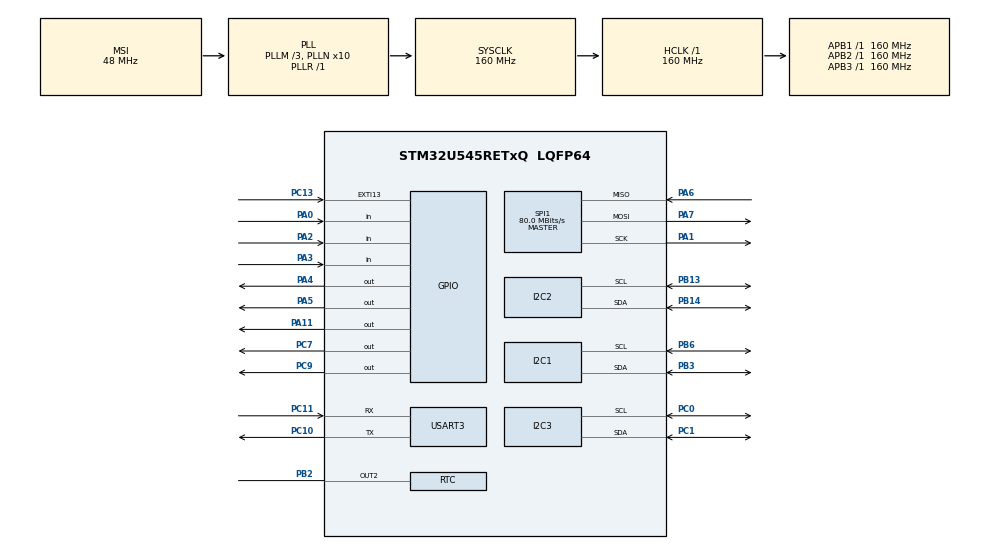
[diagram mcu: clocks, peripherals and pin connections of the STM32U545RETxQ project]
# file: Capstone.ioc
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CORTEX_M33_NS.userName=CORTEX_M33
I2C1.Timing=0x30909DEC
I2C2.Timing=0x30909DEC
I2C3.Timing=0x30909DEC
Mcu.Family=STM32U5
Mcu.Name=STM32U545RETxQ
Mcu.Package=LQFP64
NUCLEO-U545RE-Q.BUTTON=1
NUCLEO-U545RE-Q.Bsp_Common_DEMO=true
NUCLEO-U545RE-Q.LD2=true
NUCLEO-U545RE-Q.VCP=true
NVIC.EXTI13_IRQn=true\:0\:0\:false\:false\:true\:false\:true\:true
NVIC.PriorityGroup=NVIC_PRIORITYGROUP_4
PA0.Signal=GPIO_Input
PA1.Mode=Full_Duplex_Master
PA1.Signal=SPI1_SCK
PA11.Signal=GPIO_Output
PA13\ (JTMS/SWDIO).Mode=Serial_Wire
PA13\ (JTMS/SWDIO).Signal=DEBUG_JTMS-SWDIO
PA14\ (JTCK/SWCLK).Mode=Serial_Wire
PA14\ (JTCK/SWCLK).Signal=DEBUG_JTCK-SWCLK
PA2.Signal=GPIO_Input
PA3.Signal=GPIO_Input
PA4.Signal=GPIO_Output
PA5.Signal=GPIO_Output
PA6.Mode=Full_Duplex_Master
PA6.Signal=SPI1_MISO
PA7.Mode=Full_Duplex_Master
PA7.Signal=SPI1_MOSI
PB13.Mode=I2C
PB13.Signal=I2C2_SCL
PB14.Mode=I2C
PB14.Signal=I2C2_SDA
PB2.Mode=Calibration_1Hz
PB2.Signal=RTC_OUT2
PB3\ (JTDO/TRACESWO).Mode=I2C
PB3\ (JTDO/TRACESWO).Signal=I2C1_SDA
PB6.Mode=I2C
PB6.Signal=I2C1_SCL
PC0.Mode=I2C
PC0.Signal=I2C3_SCL
PC1.Mode=I2C
PC1.Signal=I2C3_SDA
PC10.Mode=Asynchronous
PC10.Signal=USART3_TX
PC11.Mode=Asynchronous
PC11.Signal=USART3_RX
PC13.Signal=GPXTI13
PC7.Signal=GPIO_Output
PC9.Signal=GPIO_Output
PH0-OSC_IN\ (PH0).Mode=HSE-External-Oscillator
PH0-OSC_IN\ (PH0).Signal=RCC_OSC_IN
PH1-OSC_OUT\ (PH1).Mode=HSE-External-Oscillator
PH1-OSC_OUT\ (PH1).Signal=RCC_OSC_OUT
PWR.PowerMode=PWR_SMPS_SUPPLY
ProjectManager.HeapSize=0x200
ProjectManager.StackSize=0x400
ProjectManager.TargetToolchain=STM32CubeIDE
RCC.ADCFreq_Value=16000000
RCC.AHBFreq_Value=160000000
RCC.APB1Freq_Value=160000000
RCC.APB1TimFreq_Value=160000000
RCC.APB2Freq_Value=160000000
RCC.APB2TimFreq_Value=160000000
RCC.APB3Freq_Value=160000000
RCC.CortexFreq_Value=160000000
RCC.DACCLockSelectionVirtual=RCC_DAC1CLKSOURCE_LSI
RCC.DACCLockSelectionVirtualString=RCC_DAC1CLKSOURCE_LSI
RCC.EPOD_VALUE=48000000
RCC.HCLKFreq_Value=160000000
RCC.HSE_VALUE=8000000
RCC.HSI48_VALUE=48000000
RCC.HSI_VALUE=16000000
RCC.LSE_VALUE=32768
RCC.LSIDIV_VALUE=32000
RCC.MSIClockRange=RCC_MSIRANGE_0
RCC.MSI_VALUE=48000000
RCC.PLL1R=1
RCC.PLL2FRACN=0
RCC.PLL3FRACN=0
RCC.PLLFRACN=0
RCC.PLLM=3
RCC.PLLN=10
RCC.SYSCLKFreq_VALUE=160000000
RCC.SYSCLKSource=RCC_SYSCLKSOURCE_PLLCLK
RCC.USBFreq_Value=48000000
RCC.VCOOutputFreq_Value=160000000
SPI1.CalculateBaudRate=80.0 MBits/s
SPI1.Direction=SPI_DIRECTION_2LINES
SPI1.Mode=SPI_MODE_MASTER
SPI1.VirtualType=VM_MASTER
USART3.VirtualMode-Asynchronous=VM_ASYNC
VP_ICACHE_VS_ICACHE.Mode=DirectMappedCache
VP_LPBAMQUEUE_VS_QUEUE.Mode=QUEUEMODE
VP_LPBAM_VS_SIG1.Mode=SmartRun
VP_LPBAM_VS_SIG4.Mode=LPDMA1
VP_MEMORYMAP_VS_MEMORYMAP.Mode=CurAppReg
VP_NUCLEO-U545RE-Q_VS_BSP_COMMON.Mode=COMMON
VP_PWR_VS_LPOM.Mode=PowerOptimisation
VP_PWR_VS_SECSignals.Mode=Security/Privilege
VP_RTC_VS_RTC_Activate.Mode=RTC_Enabled
VP_RTC_VS_RTC_Calendar.Mode=RTC_Calendar
board=NUCLEO-U545RE-Q

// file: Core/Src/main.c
/* USER CODE BEGIN Header */
/**
  ******************************************************************************
  * @file           : main.c
  * @brief          : Main program body
  ******************************************************************************
  * @attention
  *
  * Copyright (c) 2024 STMicroelectronics.
  * All rights reserved.
  *
  * This software is licensed under terms that can be found in the LICENSE file
  * in the root directory of this software component.
  * If no LICENSE file comes with this software, it is provided AS-IS.
  *
  ******************************************************************************
  */
/* USER CODE END Header */
#include "main.h"
#include "sensor_query.h"
#include "print_data.h"
#include "power.h"
#include <stdbool.h>
#include "ssd1306.h"
#include "ssd1306_fonts.h"
/* USER CODE BEGIN Includes */
samples sample_array[720]; 	//Sample every 2 minutes, 30 samples/ hour for 24 hours is 720 samples a day
/* USER CODE END Includes */

COM_InitTypeDef BspCOMInit;
__IO uint32_t BspButtonState = BUTTON_RELEASED;

I2C_HandleTypeDef hi2c1;
I2C_HandleTypeDef hi2c2;
I2C_HandleTypeDef hi2c3;

RTC_HandleTypeDef hrtc;

SPI_HandleTypeDef hspi1;

UART_HandleTypeDef huart3;

void SystemClock_Config(void);
static void SystemPower_Config(void);
static void MX_GPIO_Init(void);
static void MX_ICACHE_Init(void);
static void MX_I2C1_Init(void);
static void MX_I2C3_Init(void);
static void MX_USART3_UART_Init(void);
static void MX_RTC_Init(void);
static void MX_I2C2_Init(void);
static void MX_SPI1_Init(void);
/* USER CODE BEGIN PFP */

//#define PUTCHAR_PROTOTYPE int __io_putchar(int ch)

/* USER CODE END PFP */

/* USER CODE BEGIN 0 */

volatile uint32_t count = 0;
/* USER CODE END 0 */

int main(void)
{

  /* USER CODE BEGIN 1 */

  /* MCU Configuration--------------------------------------------------------*/
  //printf("At the very start of the loop\n");
  /* Reset of all peripherals, Initializes the Flash interface and the Systick. */
  HAL_Init();

  /* USER CODE BEGIN Init */

  /* USER CODE END Init */

  /* Configure the system clock */
  SystemClock_Config();

  /* Configure the System Power */
  SystemPower_Config();

  /* USER CODE BEGIN SysInit */

  /* USER CODE END SysInit */

  /* Initialize all configured peripherals */
  MX_GPIO_Init();
  MX_ICACHE_Init();
  MX_I2C1_Init();
  MX_I2C3_Init();
  MX_USART3_UART_Init();
  MX_RTC_Init();
  MX_I2C2_Init();
  MX_SPI1_Init();
  /* USER CODE BEGIN 2 */
  	//ST7735_Init(0);
    //fillScreen(BLACK);
    //testAll();

    HAL_Delay(1000);
    //ST7735_FillRectangle(0, 0, 180, 128, 0xF800); // Fill screen with red
    __enable_irq();
  /* USER CODE END 2 */

  /* Initialize led */
  BSP_LED_Init(LED_GREEN);

  BSP_LED_Toggle(LED_GREEN);
  HAL_Delay(1000);
  /* Initialize USER push-button, will be used to trigger an interrupt each time it's pressed.*/
  BSP_PB_Init(BUTTON_USER, BUTTON_MODE_EXTI);

  /* Initialize COM1 port (115200, 8 bits (7-bit data + 1 stop bit), no parity */
  BspCOMInit.BaudRate   = 115200;
  BspCOMInit.WordLength = COM_WORDLENGTH_8B;
  BspCOMInit.StopBits   = COM_STOPBITS_1;
  BspCOMInit.Parity     = COM_PARITY_NONE;
  BspCOMInit.HwFlowCtl  = COM_HWCONTROL_NONE;
  if (BSP_COM_Init(COM1, &BspCOMInit) != BSP_ERROR_NONE)
  {
    Error_Handler();
  }

  printf("ABout to initialize the display\n");
   HAL_Delay(1000);
   ssd1306_Init();
  /* USER CODE BEGIN BSP */
	//HAL_GPIO_WritePin(GPIOA, GPIO_PIN_4, GPIO_PIN_RESET); //Demonstrate Low Power Mode
  //HAL_Delay(100);
/* USER CODE END 1 */
	//uint8_t msg[] = "Direct UART Test\r\n";
	//HAL_UART_Transmit(&huart3, msg, sizeof(msg)-1, HAL_MAX_DELAY);
  /* -- Sample board code to send message over COM1 port ---- */
  //printf("Welcome to STM32 world !\n\r");

  /* -- Sample board code to switch on led ---- */
  //BSP_LED_On(LED_GREEN);

  /* USER CODE END BSP */

  /* Infinite loop */
  /* USER CODE BEGIN WHILE */

  int entry_shown = 0;
  int new_entry, last_entry = 0;
  int num_of_entries = 0;
  int max_entries = 720; //can be changed, 720 = sample every 2 minutes for 1 day

  int button1 = HAL_GPIO_ReadPin(GPIOA, GPIO_PIN_2); //Extra button for whatever else
  int button2 = HAL_GPIO_ReadPin(GPIOA, GPIO_PIN_0); //Original Button that actually works
  int button3 = HAL_GPIO_ReadPin(GPIOA, GPIO_PIN_3); //New Button, Need to replace with nucleo button that was being used
  bool busy = false;
  uint32_t start_powerdown = 0;
  char str[] = "Jake Rules!";
  uint8_t x = 10;
  uint8_t y = 10;
  printf("ABout to enter while loop\n");
  while (1)
  {
	  printf("Inside while loop at the start\n");
	  // Print test text
	      /*ssd1306_SetCursor(0, 0);
	      ssd1306_WriteString("Hello, STM32!", Font_6x8, White);
	      ssd1306_UpdateScreen();

	      ssd1306_SetCursor(0, 8);
	      ssd1306_WriteString("Hello, STM32!", Font_6x8, White);
	      ssd1306_UpdateScreen();
	      ssd1306_SetCursor(0, 16);
	      ssd1306_WriteString("Hello, STM32!", Font_6x8, White);
	      ssd1306_UpdateScreen();
	      ssd1306_SetCursor(0, 24);
	      ssd1306_WriteString("Hello, STM32!", Font_6x8, White);
	      ssd1306_UpdateScreen();*/

	  //ssd1306_SetCursor(x, y);
	  //ssd1306_WriteString(str, Font_6x8, White);
	  //printf("%s\n", str);
	  //THERE IS SOME REDUNDANCY HERE NOT SURE WHAT TO KEEP/GET RID OF AT THE MOMENT, I THINK THE BUTTON INITIALIZATION ABOVE? BUT NOT SURE WHAT TO INITIALIZE THE BUTTONS TO ALSO SHOULD BE BOOLS?
	  //printf("Something\n");
	  button1 = HAL_GPIO_ReadPin(GPIOA, GPIO_PIN_2);
	  button2 = HAL_GPIO_ReadPin(GPIOA, GPIO_PIN_0);
	  button3 = HAL_GPIO_ReadPin(GPIOA, GPIO_PIN_3);
	 /* button2 = HAL_GPIO_ReadPin(GPIOA, GPIO_PIN_0);
	  HAL_Delay(100);
	  button3 = HAL_GPIO_ReadPin(GPIOA, GPIO_PIN_3);
	  HAL_Delay(50);
	  	  if (button2 == GPIO_PIN_SET) {  // If button 2 is pressed
	          printf("Button 2 Pressed\n");  // Print message to console
	          button2 = 0;
	      }

	  	  else if (button3 == GPIO_PIN_SET) {  // If button 3 is pressed
	          printf("Button 3 Pressed\n");  // Print message to console
	          button3 = 0;
	      }

	      // Optional: Test BspButtonState if you're using a custom button system (e.g., for button 1)
	  	  else if (BspButtonState == BUTTON_PRESSED) {
	    	  BspButtonState = BUTTON_RELEASED;
	          printf("Button 1 Pressed\n");  // Print message for Button 1
	      }*/
	    //NO USLEEP()
	  	  //printf("about to enter power_down\n");
	  	  //power_down();
	  	  if((count - start_powerdown >= 10000) && !busy){ //was 120,000
		     power_up();  // sensor_read wakes up controller from sleep w

			  //printf("\033\143"); // TEMP - putty clear
			  printf("Checking new data..."); //screen shows 'updating'

			  // update the new_entry and last_entry 'pointers' to the storage array
			  if(num_of_entries == 0){ // when there is no data, new_entry is set to the first value
				  new_entry = 0;
				  last_entry = 0;
			  }
			  else{ // in normal operating, new_entry is incremented to not overwrite the previous read
				  //OLD: new_entry += 1;
				  new_entry = (new_entry+1) % max_entries; // will wrap around if reaching the end of the array
				  if(new_entry == last_entry){ // if this read will overwrite the oldest value, increase the pointer to the next oldest value
				  		//last_entry += 1;
				  		last_entry = (last_entry+1) % max_entries; // will wrap around if reaching the end of the array
				  }
			  }
			  //printf("1\n");
			  /*if(new_entry == last_entry){ // if this read will overwrite the oldest value, increase the pointer to the next oldest value
				last_entry += 1;
				last_entry = last_entry % max_entries; // will wrap around if reaching the end of the array
			  }*/
			  //printf("2\n");
			  //read from sensors to index of new_entry
			  store_data(&sample_array[new_entry]);

			  //printf("3\n");
			  entry_shown = new_entry; // show the most up-to-date data on the display
			  if(num_of_entries < max_entries){ // increase the 'size' of the used array if not full yet
				  num_of_entries += 1;
			  }

			  //HAL_Delay(500); //leave error messages on the screen for a moment
	  	  	  	  // TODO - store error messages to struct when they come up.

			  //update screen
			  //ssd1306_SetCursor(0, 8);
			  display_sample_struct(&sample_array[entry_shown], 1);
			  ssd1306_UpdateScreen();
			  //printf("4\n");
			  power_down();
			  start_powerdown = count;
	  	  }

		 if(BspButtonState == BUTTON_PRESSED){
			  HAL_Delay(50);//input_detected = true; // debounce detector- won't run this section again until all buttons left unpressed.
			  if(BspButtonState == BUTTON_PRESSED){
			  // DISABLED due to RTC being implemented differently
			  //printf("A button is pressed\n");
			/*  if(button3){ // Button 1 decrements the index of the data showed on-screen

				  //printf("button1 was pressed");
				  if(entry_shown == 0){
					  entry_shown = num_of_entries - 1; //wraps around to highest used value when falling off the low end of storage
				  }
				  else{
					  entry_shown -= 1;
				  }
			  }
			  if(button2){ // Button 2 increments the index of the data shown on-screen
				  //printf("button2 was pressed\n");
				  entry_shown += 1;
				  entry_shown = entry_shown % num_of_entries;
			  }*/
			  if(BspButtonState == BUTTON_PRESSED){ //  Button 3 deposits available data to the SD card
				  BspButtonState = BUTTON_RELEASED;
				  // REPURPOSED - instead this button with scan through all avaliable data, displaying each for each struct for a half second before transitioning to the next
				  entry_shown = last_entry;
				  printf("About to display 24 Hours worth of data\n");
				  printf("***************************************\n");
				  printf("***************************************\n");
				  while(1){
					  busy = 1;
					//printf("\033\143"); //Clear terminal
					display_sample_struct(&sample_array[entry_shown], 1); //display on upper line
					ssd1306_UpdateScreen();
					HAL_Delay(1000);
					if(entry_shown +1 < num_of_entries){
						display_sample_struct(&sample_array[entry_shown+1], 0); //display on lower line
						ssd1306_UpdateScreen();
					}
					HAL_Delay(1000);
					if(entry_shown == new_entry){
						printf("REACHED END OF STORED DATA\n RESUMING NORMAL OPERATIONS\n");
						printf("*******************************************************\n");
						printf("*******************************************************\n");
						ssd1306_Fill(Black);
						ssd1306_UpdateScreen();
						ssd1306_SetCursor(0,0);
						ssd1306_WriteString("Reached End of Buffer", Font_6x8, White);

						HAL_Delay(20000);
						ssd1306_Fill(Black);
						ssd1306_UpdateScreen();
						break;
					}
					entry_shown += 2; //entry_shown += 1;
					entry_shown = entry_shown % num_of_entries;
					if((BspButtonState == BUTTON_PRESSED) || button2){ // Emergency abort of scan
						BspButtonState = BUTTON_RELEASED;
						printf("ABORTING SCROLL\n RESUMING NORMAL FUNCTION WHEN BUTTON RELEASED\n");
						while((BspButtonState == BUTTON_PRESSED) || button2){
							busy = 0;
							HAL_Delay(100);
						}
					busy = 0;
					break;
					}
				  }

			  }
		  	}
  	  	  }
		  HAL_Delay(5000);

			//printf("I GET HERE\n");
			//display_sample_struct(&sample_array[entry_shown]);
		   //Following code was heavily influenced from the STM32 website for getting RTC periodic interrupts
		   //https://community.st.com/t5/stm32-mcus/how-to-configure-the-rtc-to-wake-up-the-stm32-periodically-from/ta-p/49836
						//Resume systick
			//}

		  /*if(!button1 && !button2 && !button3){
			  input_detected = 0;
		  } DISABLED due to RTC being implemented differently*/

		  //Sleep til interrupt (RTC or GPIO)

	  /* --- End of Logic Rewrite --- */

	  	//Now format the string:

    /* -- Sample board code for User push-button in interrupt mode ---- */

	//if (BspButtonState == BUTTON_PRESSED)
    //{
      /* Update button state */
      //BspButtonState = BUTTON_RELEASED;
      /* -- Sample board code to toggle led ---- */
      //BSP_LED_Toggle(LED_GREEN);

      /* ..... Perform your action ..... */
    //}
    /* USER CODE END WHILE */

   }
}

void SystemClock_Config(void)
{
  RCC_OscInitTypeDef RCC_OscInitStruct = {0};
  RCC_ClkInitTypeDef RCC_ClkInitStruct = {0};

  /** Configure the main internal regulator output voltage
  */
  if (HAL_PWREx_ControlVoltageScaling(PWR_REGULATOR_VOLTAGE_SCALE1) != HAL_OK)
  {
    Error_Handler();
  }

  /** Initializes the CPU, AHB and APB buses clocks
  */
  RCC_OscInitStruct.OscillatorType = RCC_OSCILLATORTYPE_LSI|RCC_OSCILLATORTYPE_MSI;
  RCC_OscInitStruct.LSIState = RCC_LSI_ON;
  RCC_OscInitStruct.MSIState = RCC_MSI_ON;
  RCC_OscInitStruct.MSICalibrationValue = RCC_MSICALIBRATION_DEFAULT;
  RCC_OscInitStruct.MSIClockRange = RCC_MSIRANGE_0;
  RCC_OscInitStruct.LSIDiv = RCC_LSI_DIV1;
  RCC_OscInitStruct.PLL.PLLState = RCC_PLL_ON;
  RCC_OscInitStruct.PLL.PLLSource = RCC_PLLSOURCE_MSI;
  RCC_OscInitStruct.PLL.PLLMBOOST = RCC_PLLMBOOST_DIV4;
  RCC_OscInitStruct.PLL.PLLM = 3;
  RCC_OscInitStruct.PLL.PLLN = 10;
  RCC_OscInitStruct.PLL.PLLP = 2;
  RCC_OscInitStruct.PLL.PLLQ = 2;
  RCC_OscInitStruct.PLL.PLLR = 1;
  RCC_OscInitStruct.PLL.PLLRGE = RCC_PLLVCIRANGE_1;
  RCC_OscInitStruct.PLL.PLLFRACN = 0;
  if (HAL_RCC_OscConfig(&RCC_OscInitStruct) != HAL_OK)
  {
    Error_Handler();
  }

  /** Initializes the CPU, AHB and APB buses clocks
  */
  RCC_ClkInitStruct.ClockType = RCC_CLOCKTYPE_HCLK|RCC_CLOCKTYPE_SYSCLK
                              |RCC_CLOCKTYPE_PCLK1|RCC_CLOCKTYPE_PCLK2
                              |RCC_CLOCKTYPE_PCLK3;
  RCC_ClkInitStruct.SYSCLKSource = RCC_SYSCLKSOURCE_PLLCLK;
  RCC_ClkInitStruct.AHBCLKDivider = RCC_SYSCLK_DIV1;
  RCC_ClkInitStruct.APB1CLKDivider = RCC_HCLK_DIV1;
  RCC_ClkInitStruct.APB2CLKDivider = RCC_HCLK_DIV1;
  RCC_ClkInitStruct.APB3CLKDivider = RCC_HCLK_DIV1;

  if (HAL_RCC_ClockConfig(&RCC_ClkInitStruct, FLASH_LATENCY_4) != HAL_OK)
  {
    Error_Handler();
  }
}

/**
  * @brief Power Configuration
  * @retval None
  */
static void SystemPower_Config(void)
{

  /*
   * Switch to SMPS regulator instead of LDO
   */
  if (HAL_PWREx_ConfigSupply(PWR_SMPS_SUPPLY) != HAL_OK)
  {
    Error_Handler();
  }
}

static void MX_I2C1_Init(void)
{

  hi2c1.Instance = I2C1;
  hi2c1.Init.Timing = 0x30909DEC;
  hi2c1.Init.OwnAddress1 = 0;
  hi2c1.Init.AddressingMode = I2C_ADDRESSINGMODE_7BIT;
  hi2c1.Init.DualAddressMode = I2C_DUALADDRESS_DISABLE;
  hi2c1.Init.OwnAddress2 = 0;
  hi2c1.Init.OwnAddress2Masks = I2C_OA2_NOMASK;
  hi2c1.Init.GeneralCallMode = I2C_GENERALCALL_DISABLE;
  hi2c1.Init.NoStretchMode = I2C_NOSTRETCH_DISABLE;
  if (HAL_I2C_Init(&hi2c1) != HAL_OK)
  {
    Error_Handler();
  }

  /** Configure Analogue filter
  */
  if (HAL_I2CEx_ConfigAnalogFilter(&hi2c1, I2C_ANALOGFILTER_ENABLE) != HAL_OK)
  {
    Error_Handler();
  }

  /** Configure Digital filter
  */
  if (HAL_I2CEx_ConfigDigitalFilter(&hi2c1, 0) != HAL_OK)
  {
    Error_Handler();
  }

}

static void MX_I2C2_Init(void)
{

  hi2c2.Instance = I2C2;
  hi2c2.Init.Timing = 0x30909DEC;
  hi2c2.Init.OwnAddress1 = 0;
  hi2c2.Init.AddressingMode = I2C_ADDRESSINGMODE_7BIT;
  hi2c2.Init.DualAddressMode = I2C_DUALADDRESS_DISABLE;
  hi2c2.Init.OwnAddress2 = 0;
  hi2c2.Init.OwnAddress2Masks = I2C_OA2_NOMASK;
  hi2c2.Init.GeneralCallMode = I2C_GENERALCALL_DISABLE;
  hi2c2.Init.NoStretchMode = I2C_NOSTRETCH_DISABLE;
  if (HAL_I2C_Init(&hi2c2) != HAL_OK)
  {
    Error_Handler();
  }

  /** Configure Analogue filter
  */
  if (HAL_I2CEx_ConfigAnalogFilter(&hi2c2, I2C_ANALOGFILTER_ENABLE) != HAL_OK)
  {
    Error_Handler();
  }

  /** Configure Digital filter
  */
  if (HAL_I2CEx_ConfigDigitalFilter(&hi2c2, 0) != HAL_OK)
  {
    Error_Handler();
  }

}

static void MX_I2C3_Init(void)
{

  hi2c3.Instance = I2C3;
  hi2c3.Init.Timing = 0x30909DEC;
  hi2c3.Init.OwnAddress1 = 0;
  hi2c3.Init.AddressingMode = I2C_ADDRESSINGMODE_7BIT;
  hi2c3.Init.DualAddressMode = I2C_DUALADDRESS_DISABLE;
  hi2c3.Init.OwnAddress2 = 0;
  hi2c3.Init.OwnAddress2Masks = I2C_OA2_NOMASK;
  hi2c3.Init.GeneralCallMode = I2C_GENERALCALL_DISABLE;
  hi2c3.Init.NoStretchMode = I2C_NOSTRETCH_DISABLE;
  if (HAL_I2C_Init(&hi2c3) != HAL_OK)
  {
    Error_Handler();
  }

  /** Configure Analogue filter
  */
  if (HAL_I2CEx_ConfigAnalogFilter(&hi2c3, I2C_ANALOGFILTER_ENABLE) != HAL_OK)
  {
    Error_Handler();
  }

  /** Configure Digital filter
  */
  if (HAL_I2CEx_ConfigDigitalFilter(&hi2c3, 0) != HAL_OK)
  {
    Error_Handler();
  }

}

static void MX_ICACHE_Init(void)
{

  /** Enable instruction cache in 1-way (direct mapped cache)
  */
  if (HAL_ICACHE_ConfigAssociativityMode(ICACHE_1WAY) != HAL_OK)
  {
    Error_Handler();
  }
  if (HAL_ICACHE_Enable() != HAL_OK)
  {
    Error_Handler();
  }

}

static void MX_RTC_Init(void)
{

  RTC_PrivilegeStateTypeDef privilegeState = {0};
  RTC_TimeTypeDef sTime = {0};
  RTC_DateTypeDef sDate = {0};

  /** Initialize RTC Only
  */
  hrtc.Instance = RTC;
  hrtc.Init.HourFormat = RTC_HOURFORMAT_24;
  hrtc.Init.AsynchPrediv = 127;
  hrtc.Init.SynchPrediv = 255;
  hrtc.Init.OutPut = RTC_OUTPUT_DISABLE;
  hrtc.Init.OutPutRemap = RTC_OUTPUT_REMAP_POS1;
  hrtc.Init.OutPutPolarity = RTC_OUTPUT_POLARITY_HIGH;
  hrtc.Init.OutPutType = RTC_OUTPUT_TYPE_OPENDRAIN;
  hrtc.Init.OutPutPullUp = RTC_OUTPUT_PULLUP_NONE;
  hrtc.Init.BinMode = RTC_BINARY_NONE;
  if (HAL_RTC_Init(&hrtc) != HAL_OK)
  {
    Error_Handler();
  }
  privilegeState.rtcPrivilegeFull = RTC_PRIVILEGE_FULL_NO;
  privilegeState.backupRegisterPrivZone = RTC_PRIVILEGE_BKUP_ZONE_NONE;
  privilegeState.backupRegisterStartZone2 = RTC_BKP_DR0;
  privilegeState.backupRegisterStartZone3 = RTC_BKP_DR0;
  if (HAL_RTCEx_PrivilegeModeSet(&hrtc, &privilegeState) != HAL_OK)
  {
    Error_Handler();
  }

  /** Initialize RTC and set the Time and Date
  */
  sTime.Hours = 0x0;
  sTime.Minutes = 0x0;
  sTime.Seconds = 0x0;
  sTime.DayLightSaving = RTC_DAYLIGHTSAVING_NONE;
  sTime.StoreOperation = RTC_STOREOPERATION_RESET;
  if (HAL_RTC_SetTime(&hrtc, &sTime, RTC_FORMAT_BCD) != HAL_OK)
  {
    Error_Handler();
  }
  sDate.WeekDay = RTC_WEEKDAY_MONDAY;
  sDate.Month = RTC_MONTH_JANUARY;
  sDate.Date = 0x1;
  sDate.Year = 0x0;

  if (HAL_RTC_SetDate(&hrtc, &sDate, RTC_FORMAT_BCD) != HAL_OK)
  {
    Error_Handler();
  }

  /** Enable Calibration
  */
  if (HAL_RTCEx_SetCalibrationOutPut(&hrtc, RTC_CALIBOUTPUT_1HZ) != HAL_OK)
  {
    Error_Handler();
  }
  /* USER CODE BEGIN RTC_Init 2 */
  //HAL_NVIC_SetPriority(RTC_IRQn, 0, 0);  // Set the interrupt priority
  HAL_NVIC_EnableIRQ(RTC_IRQn);
  HAL_NVIC_SetPriority(RTC_IRQn, 0, 0);
  /* USER CODE END RTC_Init 2 */

}

static void MX_SPI1_Init(void)
{

  SPI_AutonomousModeConfTypeDef HAL_SPI_AutonomousMode_Cfg_Struct = {0};

  /* SPI1 parameter configuration*/
  hspi1.Instance = SPI1;
  hspi1.Init.Mode = SPI_MODE_MASTER;
  hspi1.Init.Direction = SPI_DIRECTION_2LINES;
  hspi1.Init.DataSize = SPI_DATASIZE_4BIT;
  hspi1.Init.CLKPolarity = SPI_POLARITY_LOW;
  hspi1.Init.CLKPhase = SPI_PHASE_1EDGE;
  hspi1.Init.NSS = SPI_NSS_SOFT;
  hspi1.Init.BaudRatePrescaler = SPI_BAUDRATEPRESCALER_2;
  hspi1.Init.FirstBit = SPI_FIRSTBIT_MSB;
  hspi1.Init.TIMode = SPI_TIMODE_DISABLE;
  hspi1.Init.CRCCalculation = SPI_CRCCALCULATION_DISABLE;
  hspi1.Init.CRCPolynomial = 0x7;
  hspi1.Init.NSSPMode = SPI_NSS_PULSE_ENABLE;
  hspi1.Init.NSSPolarity = SPI_NSS_POLARITY_LOW;
  hspi1.Init.FifoThreshold = SPI_FIFO_THRESHOLD_01DATA;
  hspi1.Init.MasterSSIdleness = SPI_MASTER_SS_IDLENESS_00CYCLE;
  hspi1.Init.MasterInterDataIdleness = SPI_MASTER_INTERDATA_IDLENESS_00CYCLE;
  hspi1.Init.MasterReceiverAutoSusp = SPI_MASTER_RX_AUTOSUSP_DISABLE;
  hspi1.Init.MasterKeepIOState = SPI_MASTER_KEEP_IO_STATE_DISABLE;
  hspi1.Init.IOSwap = SPI_IO_SWAP_DISABLE;
  hspi1.Init.ReadyMasterManagement = SPI_RDY_MASTER_MANAGEMENT_INTERNALLY;
  hspi1.Init.ReadyPolarity = SPI_RDY_POLARITY_HIGH;
  if (HAL_SPI_Init(&hspi1) != HAL_OK)
  {
    Error_Handler();
  }
  HAL_SPI_AutonomousMode_Cfg_Struct.TriggerState = SPI_AUTO_MODE_DISABLE;
  HAL_SPI_AutonomousMode_Cfg_Struct.TriggerSelection = SPI_GRP1_GPDMA_CH0_TCF_TRG;
  HAL_SPI_AutonomousMode_Cfg_Struct.TriggerPolarity = SPI_TRIG_POLARITY_RISING;
  if (HAL_SPIEx_SetConfigAutonomousMode(&hspi1, &HAL_SPI_AutonomousMode_Cfg_Struct) != HAL_OK)
  {
    Error_Handler();
  }

}

static void MX_USART3_UART_Init(void)
{

  huart3.Instance = USART3;
  huart3.Init.BaudRate = 115200;
  huart3.Init.WordLength = UART_WORDLENGTH_8B;
  huart3.Init.StopBits = UART_STOPBITS_1;
  huart3.Init.Parity = UART_PARITY_NONE;
  huart3.Init.Mode = UART_MODE_TX_RX;
  huart3.Init.HwFlowCtl = UART_HWCONTROL_NONE;
  huart3.Init.OverSampling = UART_OVERSAMPLING_16;
  huart3.Init.OneBitSampling = UART_ONE_BIT_SAMPLE_DISABLE;
  huart3.Init.ClockPrescaler = UART_PRESCALER_DIV1;
  huart3.AdvancedInit.AdvFeatureInit = UART_ADVFEATURE_NO_INIT;
  if (HAL_UART_Init(&huart3) != HAL_OK)
  {
    Error_Handler();
  }
  if (HAL_UARTEx_SetTxFifoThreshold(&huart3, UART_TXFIFO_THRESHOLD_1_8) != HAL_OK)
  {
    Error_Handler();
  }
  if (HAL_UARTEx_SetRxFifoThreshold(&huart3, UART_RXFIFO_THRESHOLD_1_8) != HAL_OK)
  {
    Error_Handler();
  }
  if (HAL_UARTEx_DisableFifoMode(&huart3) != HAL_OK)
  {
    Error_Handler();
  }

}

static void MX_GPIO_Init(void)
{
  GPIO_InitTypeDef GPIO_InitStruct = {0};

  /* GPIO Ports Clock Enable */
  __HAL_RCC_GPIOH_CLK_ENABLE();
  __HAL_RCC_GPIOC_CLK_ENABLE();
  __HAL_RCC_GPIOA_CLK_ENABLE();
  __HAL_RCC_GPIOB_CLK_ENABLE();

  /*Configure GPIO pin Output Level */
  HAL_GPIO_WritePin(GPIOA, GPIO_PIN_4|GPIO_PIN_11, GPIO_PIN_RESET);

  /*Configure GPIO pin Output Level */
  HAL_GPIO_WritePin(GPIOC, GPIO_PIN_7|GPIO_PIN_9, GPIO_PIN_RESET);

  /*Configure GPIO pins : PA0 PA2 PA3 */
  GPIO_InitStruct.Pin = GPIO_PIN_0|GPIO_PIN_2|GPIO_PIN_3;
  GPIO_InitStruct.Mode = GPIO_MODE_INPUT;
  GPIO_InitStruct.Pull = GPIO_NOPULL;
  HAL_GPIO_Init(GPIOA, &GPIO_InitStruct);

  /*Configure GPIO pins : PA4 PA11 */
  GPIO_InitStruct.Pin = GPIO_PIN_4|GPIO_PIN_11;
  GPIO_InitStruct.Mode = GPIO_MODE_OUTPUT_PP;
  GPIO_InitStruct.Pull = GPIO_NOPULL;
  GPIO_InitStruct.Speed = GPIO_SPEED_FREQ_LOW;
  HAL_GPIO_Init(GPIOA, &GPIO_InitStruct);

  /*Configure GPIO pins : PC7 PC9 */
  GPIO_InitStruct.Pin = GPIO_PIN_7|GPIO_PIN_9;
  GPIO_InitStruct.Mode = GPIO_MODE_OUTPUT_PP;
  GPIO_InitStruct.Pull = GPIO_NOPULL;
  GPIO_InitStruct.Speed = GPIO_SPEED_FREQ_LOW;
  HAL_GPIO_Init(GPIOC, &GPIO_InitStruct);

/* USER CODE BEGIN MX_GPIO_Init_2 */
  //	  GPIO_InitStruct.Pin = GPIO_PIN_0 | GPIO_PIN_1;
    //  GPIO_InitStruct.Mode = GPIO_MODE_AF_OD;
     // GPIO_InitStruct.Pull = GPIO_PULLUP;
      //GPIO_InitStruct.Speed = GPIO_SPEED_FREQ_HIGH;
     // GPIO_InitStruct.Alternate = GPIO_AF4_I2C3;
      HAL_GPIO_Init(GPIOC, &GPIO_InitStruct);
/* USER CODE END MX_GPIO_Init_2 */
}

/* USER CODE BEGIN 4 */
/**
  * @brief  Retargets the C library printf function to the USART.
  *   None
  * @retval None
  */
//PUTCHAR_PROTOTYPE
//{
  /* Place your implementation of fputc here */
  /* e.g. write a character to the USART1 and Loop until the end of transmission */
//	HAL_UART_Transmit(&huart3, (uint8_t *)&ch, 1, 0xFFFF);
//	return ch;
//}

/* USER CODE END 4 */

/**
  * @brief BSP Push Button callback
  * @param Button Specifies the pressed button
  * @retval None
  */
void BSP_PB_Callback(Button_TypeDef Button)
{
  if (Button == BUTTON_USER)
  {
    BspButtonState = BUTTON_PRESSED;
  }
}

void Error_Handler(void)
{
  /* USER CODE BEGIN Error_Handler_Debug */
  /* User can add his own implementation to report the HAL error return state */
  __disable_irq();
  while (1)
  {
	  BSP_LED_Toggle(LED_GREEN);
	  HAL_Delay(500);

  }
  /* USER CODE END Error_Handler_Debug */
}
